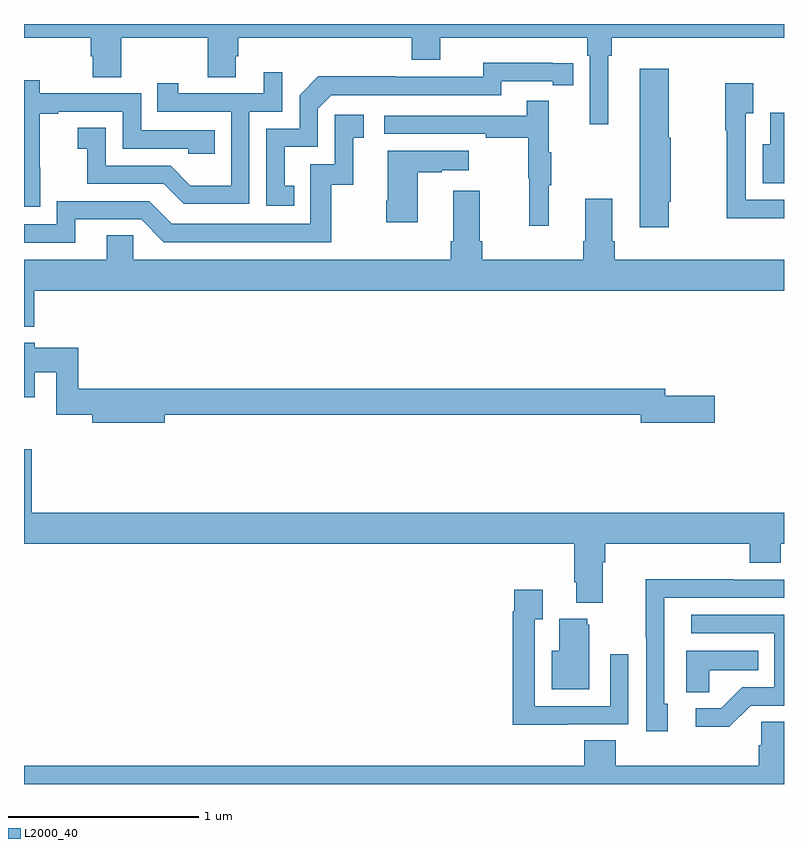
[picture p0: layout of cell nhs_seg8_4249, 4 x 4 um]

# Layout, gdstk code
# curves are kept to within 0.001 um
import gdstk
lib = gdstk.Library(unit=1e-6, precision=1e-09)
def P(c, l, *ps):  # polygons
    for p in ps: c.add(gdstk.Polygon(p, *l))
L2000_40 = (2000, 40)

nhs_seg8_4249 = lib.new_cell('nhs_seg8_4249')
P(nhs_seg8_4249, L2000_40, [(374.074,1121.732),(374.093,1121.732),(374.093,1121.828),(375,1121.828),(375,1121.9),(371,1121.9),(371,1121.828),(371.351,1121.828),(371.351,1121.73),(371.363,1121.73),(371.363,1121.62),(371.511,1121.62),(371.511,1121.828),(371.968,1121.828),(371.968,1121.62),(372.115,1121.62),(372.115,1121.73),(372.128,1121.73),(372.128,1121.828),(373.04,1121.828),(373.04,1121.711),(373.192,1121.711),(373.192,1121.828),(373.964,1121.828),(373.964,1121.732),(373.977,1121.732),(373.977,1121.373),(374.074,1121.373)],
  [(372.422,1121.049),(372.373,1121.049),(372.373,1121.253),(372.546,1121.253),(372.546,1121.454),(372.618,1121.526),(373.512,1121.526),(373.512,1121.598),(373.784,1121.598),(373.784,1121.578),(373.892,1121.578),(373.892,1121.694),(373.416,1121.695),(373.416,1121.622),(372.956,1121.622),(372.956,1121.624),(372.548,1121.624),(372.45,1121.526),(372.45,1121.349),(372.276,1121.349),(372.276,1120.944),(372.422,1120.944)],
  [(374.394,1120.965),(374.404,1120.965),(374.404,1121.301),(374.394,1121.301),(374.394,1121.665),(374.24,1121.665),(374.24,1120.83),(374.394,1120.83)],
  [(372.186,1121.439),(372.36,1121.439),(372.36,1121.647),(372.263,1121.647),(372.263,1121.535),(371.812,1121.535),(371.812,1121.587),(371.701,1121.587),(371.701,1121.439),(372.09,1121.439),(372.09,1121.05),(371.876,1121.05),(371.772,1121.154),(371.43,1121.154),(371.43,1121.353),(371.283,1121.353),(371.283,1121.243),(371.332,1121.243),(371.332,1121.058),(371.735,1121.058),(371.84,1120.953),(372.186,1120.953)],
  [(371.085,1121.143),(371.084,1121.143),(371.084,1121.427),(371.179,1121.427),(371.179,1121.439),(371.52,1121.439),(371.52,1121.244),(371.865,1121.244),(371.865,1121.217),(372.005,1121.217),(372.005,1121.34),(371.616,1121.34),(371.616,1121.535),(371.082,1121.535),(371.082,1121.604),(371,1121.604),(371,1120.937),(371.085,1120.937)],
  [(374.975,1120.878),(375,1120.878),(375,1120.974),(374.799,1120.974),(374.799,1121.431),(374.839,1121.431),(374.839,1121.587),(374.691,1121.587),(374.691,1121.342),(374.698,1121.342),(374.698,1120.877),(374.975,1120.877)],
  [(373.763,1121.051),(373.774,1121.051),(373.774,1121.225),(373.763,1121.225),(373.763,1121.497),(373.645,1121.497),(373.645,1121.418),(372.897,1121.418),(372.897,1121.322),(373.429,1121.322),(373.429,1121.302),(373.653,1121.302),(373.653,1121.088),(373.66,1121.088),(373.66,1120.839),(373.763,1120.839)],
  [(375,1121.434),(374.927,1121.434),(374.927,1121.266),(374.888,1121.266),(374.888,1121.063),(375,1121.063)],
  [(371.269,1120.872),(371.616,1120.872),(371.736,1120.752),(372.616,1120.752),(372.616,1121.055),(372.734,1121.055),(372.734,1121.301),(372.787,1121.301),(372.787,1121.422),(372.636,1121.422),(372.636,1121.163),(372.507,1121.163),(372.507,1120.848),(371.778,1120.848),(371.658,1120.968),(371.172,1120.968),(371.172,1120.845),(371,1120.845),(371,1120.749),(371.269,1120.749)],
  [(373.072,1121.119),(373.199,1121.119),(373.199,1121.129),(373.342,1121.129),(373.342,1121.233),(372.914,1121.233),(372.914,1120.969),(372.907,1120.969),(372.907,1120.857),(373.072,1120.857)],
  [(371.054,1120.496),(375,1120.496),(375,1120.66),(374.108,1120.66),(374.108,1120.756),(374.095,1120.756),(374.095,1120.981),(373.955,1120.981),(373.955,1120.756),(373.943,1120.756),(373.943,1120.66),(373.412,1120.66),(373.412,1120.756),(373.399,1120.756),(373.399,1121.023),(373.259,1121.023),(373.259,1120.756),(373.247,1120.756),(373.247,1120.66),(371.574,1120.66),(371.574,1120.787),(371.435,1120.787),(371.435,1120.66),(371,1120.66),(371,1120.307),(371.054,1120.307)],
  [(371.74,1119.844),(374.246,1119.844),(374.246,1119.802),(374.635,1119.802),(374.635,1119.944),(374.374,1119.944),(374.374,1119.98),(371.285,1119.98),(371.285,1120.195),(371.056,1120.195),(371.056,1120.222),(371,1120.222),(371,1119.936),(371.056,1119.936),(371.056,1120.066),(371.169,1120.066),(371.169,1119.844),(371.36,1119.844),(371.36,1119.802),(371.74,1119.802)],
  [(374.047,1119.068),(374.06,1119.068),(374.06,1119.164),(374.819,1119.164),(374.819,1119.065),(374.984,1119.065),(374.984,1119.164),(375,1119.164),(375,1119.328),(371.042,1119.328),(371.042,1119.661),(371,1119.661),(371,1119.164),(373.895,1119.164),(373.895,1118.962),(373.907,1118.962),(373.907,1118.855),(374.047,1118.855)],
  [(374.389,1118.322),(374.37,1118.322),(374.37,1118.88),(375,1118.88),(375,1118.976),(374.735,1118.976),(374.735,1118.978),(374.272,1118.978),(374.272,1118.671),(374.274,1118.671),(374.274,1118.178),(374.389,1118.178)],
  [(373.865,1118.214),(374.181,1118.214),(374.181,1118.584),(374.085,1118.584),(374.085,1118.31),(373.689,1118.31),(373.689,1118.767),(373.729,1118.767),(373.729,1118.923),(373.581,1118.923),(373.581,1118.81),(373.573,1118.81),(373.573,1118.213),(373.865,1118.213)],
  [(374.826,1118.313),(375,1118.313),(375,1118.79),(374.511,1118.79),(374.511,1118.694),(374.949,1118.694),(374.949,1118.409),(374.78,1118.409),(374.669,1118.298),(374.535,1118.298),(374.535,1118.201),(374.713,1118.201)],
  [(373.975,1118.739),(373.964,1118.739),(373.964,1118.77),(373.817,1118.77),(373.817,1118.602),(373.778,1118.602),(373.778,1118.399),(373.975,1118.399)],
  [(374.607,1118.498),(374.864,1118.498),(374.864,1118.602),(374.486,1118.602),(374.486,1118.383),(374.607,1118.383)],
  [(375,1118.228),(374.88,1118.228),(374.88,1118.105),(374.867,1118.105),(374.867,1117.996),(374.114,1117.996),(374.114,1118.129),(373.949,1118.129),(373.949,1117.996),(371,1117.996),(371,1117.9),(375,1117.9)])

lib.write_gds('nhs_seg8_4249.gds')
